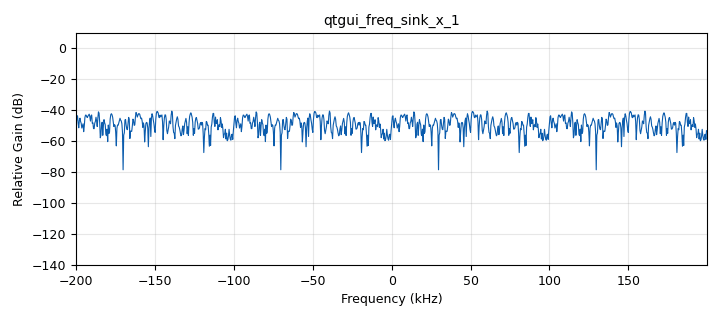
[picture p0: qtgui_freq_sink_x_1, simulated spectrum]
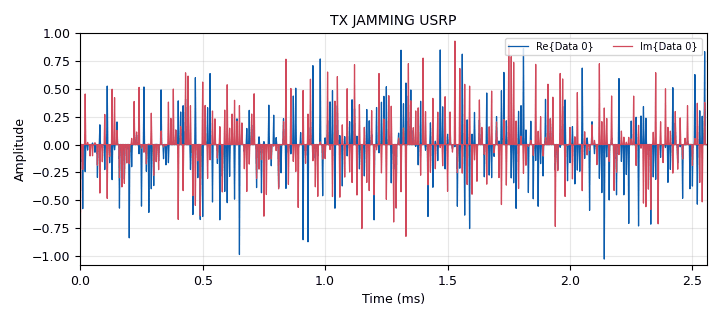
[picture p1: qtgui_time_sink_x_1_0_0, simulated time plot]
<?xml version='1.0' encoding='utf-8'?>
<?grc format='1' created='3.7.13'?>
<flow_graph>
<block>
<key>options</key>
<param><key>id</key><value>rx</value></param>
<param><key>author</key><value>andresilva</value></param>
<param><key>generate_options</key><value>qt_gui</value></param>
</block>
<block>
<key>variable_ldpc_H_matrix_def</key>
<param><key>id</key><value>H_dec</value></param>
<param><key>filename</key><value>/usr/local/share/gnuradio/fec/ldpc/n_1100_k_0442_gap_24.alist</value></param>
<param><key>gap</key><value>24</value></param>
</block>
<block>
<key>variable</key>
<param><key>id</key><value>MCR</value></param>
<param><key>value</key><value>"master_clock_rate=60e6"</value></param>
</block>
<block>
<key>variable</key>
<param><key>id</key><value>MCR</value></param>
<param><key>_enabled</key><value>0</value></param>
<param><key>value</key><value>"master_clock_rate=18e6"</value></param>
</block>
<block>
<key>variable</key>
<param><key>id</key><value>eb</value></param>
<param><key>value</key><value>0.22</value></param>
</block>
<block>
<key>variable</key>
<param><key>id</key><value>frequencia_usrp</value></param>
<param><key>value</key><value>484e6</value></param>
</block>
<block>
<key>variable</key>
<param><key>id</key><value>nfilts</value></param>
<param><key>value</key><value>32</value></param>
</block>
<block>
<key>variable_constellation</key>
<param><key>id</key><value>pld_const</value></param>
<param><key>const_points</key><value>0.92387+0.38268j, 0.38268+0.92387j,  -0.38268+0.92387j, -0.92387+0.38268j, -0.92387-0.38268j, -0.38268-0.92387j, 0.38268-0.92387j, 0.92387-0.38268j</value></param>
<param><key>type</key><value>calcdist</value></param>
<param><key>dims</key><value>1</value></param>
<param><key>_enabled</key><value>0</value></param>
<param><key>rot_sym</key><value>4</value></param>
<param><key>soft_dec_lut</key><value>'auto'</value></param>
<param><key>precision</key><value>8</value></param>
<param><key>sym_map</key><value>[0, 1, 2, 3, 4, 5, 6, 7]</value></param>
</block>
<block>
<key>variable_constellation_rect</key>
<param><key>id</key><value>pld_const</value></param>
<param><key>const_points</key><value>[0.707+0.707j, -0.707+0.707j, -0.707-0.707j, 0.707-0.707j]</value></param>
<param><key>imag_sect</key><value>2</value></param>
<param><key>real_sect</key><value>2</value></param>
<param><key>rot_sym</key><value>4</value></param>
<param><key>soft_dec_lut</key><value>'auto'</value></param>
<param><key>sym_map</key><value>[0, 1, 2, 3]</value></param>
<param><key>w_imag_sect</key><value>1</value></param>
<param><key>w_real_sect</key><value>1</value></param>
</block>
<block>
<key>variable_ldpc_bit_flip_decoder_def</key>
<param><key>id</key><value>pld_dec</value></param>
<param><key>dim1</key><value>8</value></param>
<param><key>matrix_object</key><value>H_dec</value></param>
<param><key>max_iterations</key><value>100</value></param>
<param><key>ndim</key><value>1</value></param>
</block>
<block>
<key>variable_rrc_filter_taps</key>
<param><key>id</key><value>rx_rrc_taps</value></param>
<param><key>alpha</key><value>eb</value></param>
<param><key>gain</key><value>nfilts</value></param>
<param><key>ntaps</key><value>11*sps*nfilts</value></param>
<param><key>samp_rate</key><value>nfilts*sps</value></param>
<param><key>sym_rate</key><value>1.0</value></param>
</block>
<block>
<key>variable</key>
<param><key>id</key><value>samp_rate</value></param>
<param><key>value</key><value>samp_rate_array_MCR[15]</value></param>
</block>
<block>
<key>variable</key>
<param><key>id</key><value>samp_rate</value></param>
<param><key>_enabled</key><value>0</value></param>
<param><key>value</key><value>samp_rate_array_MCR[0]</value></param>
</block>
<block>
<key>variable</key>
<param><key>id</key><value>samp_rate_array_MCR</value></param>
<param><key>value</key><value>[7500000,5000000,3750000,3000000,2500000,2000000,1500000,1000000,937500,882352,833333,714285,533333,500000,421052,400000,380952]</value></param>
</block>
<block>
<key>variable</key>
<param><key>id</key><value>samp_rate_array_MCR</value></param>
<param><key>_enabled</key><value>0</value></param>
<param><key>value</key><value>[4500000]</value></param>
</block>
<block>
<key>variable</key>
<param><key>id</key><value>sps</value></param>
<param><key>value</key><value>4</value></param>
</block>
<block>
<key>variable_qtgui_check_box</key>
<param><key>id</key><value>variable_qtgui_check_box_0</value></param>
<param><key>value</key><value>True</value></param>
<param><key>false</key><value>False</value></param>
<param><key>gui_hint</key><value>0,1</value></param>
<param><key>label</key><value>ENABLE JAM</value></param>
<param><key>true</key><value>True</value></param>
<param><key>type</key><value>int</value></param>
</block>
<block>
<key>variable_qtgui_range</key>
<param><key>id</key><value>variable_qtgui_range_0_0</value></param>
<param><key>value</key><value>52</value></param>
<param><key>gui_hint</key><value>0,3</value></param>
<param><key>label</key><value>Gain_Jamming</value></param>
<param><key>orient</key><value>Qt.Horizontal</value></param>
<param><key>start</key><value>0</value></param>
<param><key>step</key><value>1</value></param>
<param><key>stop</key><value>90</value></param>
</block>
<block>
<key>variable_qtgui_range</key>
<param><key>id</key><value>variable_qtgui_range_0_1</value></param>
<param><key>value</key><value>30</value></param>
<param><key>gui_hint</key><value>0,2</value></param>
<param><key>label</key><value>Gain_RX</value></param>
<param><key>orient</key><value>Qt.Horizontal</value></param>
<param><key>start</key><value>0</value></param>
<param><key>step</key><value>1</value></param>
<param><key>stop</key><value>73</value></param>
</block>
<block>
<key>adapt_lms_filter_xx</key>
<param><key>id</key><value>adapt_lms_filter_xx_0</value></param>
<param><key>adapt</key><value>True</value></param>
<param><key>bypass</key><value>False</value></param>
<param><key>decimation</key><value>1</value></param>
<param><key>filtered_input</key><value>True</value></param>
<param><key>first_input</key><value>True</value></param>
<param><key>num_taps</key><value>32</value></param>
<param><key>reset</key><value>False</value></param>
<param><key>skip</key><value>0</value></param>
<param><key>type</key><value>cc</value></param>
<param><key>mu</key><value>0.0001</value></param>
</block>
<block>
<key>analog_noise_source_x</key>
<param><key>id</key><value>analog_noise_source_x_0_0</value></param>
<param><key>amp</key><value>1</value></param>
<param><key>noise_type</key><value>analog.GR_GAUSSIAN</value></param>
<param><key>type</key><value>complex</value></param>
<param><key>seed</key><value>-5</value></param>
</block>
<block>
<key>blocks_char_to_float</key>
<param><key>id</key><value>blocks_char_to_float_1_0_1</value></param>
<param><key>scale</key><value>1</value></param>
</block>
<block>
<key>blocks_copy</key>
<param><key>id</key><value>blocks_copy_0</value></param>
<param><key>enabled</key><value>variable_qtgui_check_box_0</value></param>
<param><key>showports</key><value>True</value></param>
<param><key>type</key><value>complex</value></param>
</block>
<block>
<key>blocks_file_sink</key>
<param><key>id</key><value>blocks_file_sink_0_0_0_0</value></param>
<param><key>_enabled</key><value>0</value></param>
<param><key>file</key><value>/home/it/Desktop/Trasmited/depois.mpeg</value></param>
<param><key>type</key><value>byte</value></param>
</block>
<block>
<key>blocks_file_sink</key>
<param><key>id</key><value>blocks_file_sink_0_0_0_0_1</value></param>
<param><key>_enabled</key><value>0</value></param>
<param><key>file</key><value>/home/it/Desktop/Trasmited/depois.jpg</value></param>
<param><key>type</key><value>byte</value></param>
</block>
<block>
<key>blocks_file_sink</key>
<param><key>id</key><value>blocks_file_sink_0_0_0_0_2</value></param>
<param><key>file</key><value>/home/it/Desktop/Trasmited/depois.txt</value></param>
<param><key>type</key><value>byte</value></param>
</block>
<block>
<key>blocks_multiply_const_vxx</key>
<param><key>id</key><value>blocks_multiply_const_vxx_1_0</value></param>
<param><key>const</key><value>0.5</value></param>
<param><key>type</key><value>complex</value></param>
</block>
<block>
<key>blocks_null_sink</key>
<param><key>id</key><value>blocks_null_sink_0</value></param>
<param><key>bus_conns</key><value>[[0,],]</value></param>
<param><key>type</key><value>complex</value></param>
</block>
<block>
<key>blocks_null_sink</key>
<param><key>id</key><value>blocks_null_sink_1</value></param>
<param><key>bus_conns</key><value>[[0,],]</value></param>
<param><key>type</key><value>complex</value></param>
</block>
<block>
<key>correlate_and_delay_corr_and_delay</key>
<param><key>id</key><value>custom_corr</value></param>
<param><key>interval</key><value>0</value></param>
<param><key>number_bits</key><value>200*sps</value></param>
<param><key>sps</key><value>sps</value></param>
<param><key>threshold</key><value>0.99</value></param>
</block>
<block>
<key>interp_fir_filter_xxx</key>
<param><key>id</key><value>interp_fir_filter_xxx_1</value></param>
<param><key>interp</key><value>4</value></param>
<param><key>taps</key><value>[1,0,0,0]</value></param>
<param><key>type</key><value>ccc</value></param>
</block>
<block>
<key>parameter</key>
<param><key>id</key><value>puncpat</value></param>
<param><key>type</key><value>string</value></param>
<param><key>value</key><value>'11'</value></param>
</block>
<block>
<key>qtgui_const_sink_x</key>
<param><key>id</key><value>qtgui_const_sink_x_0_0_0_1</value></param>
<param><key>gui_hint</key><value>2,1</value></param>
<param><key>name</key><value>"RX Const"</value></param>
<param><key>size</key><value>1024</value></param>
<param><key>type</key><value>complex</value></param>
</block>
<block>
<key>qtgui_freq_sink_x</key>
<param><key>id</key><value>qtgui_freq_sink_x_1</value></param>
<param><key>bw</key><value>samp_rate</value></param>
<param><key>fc</key><value>0</value></param>
<param><key>fftsize</key><value>1024</value></param>
<param><key>gui_hint</key><value>1,2</value></param>
<param><key>showports</key><value>True</value></param>
<param><key>type</key><value>complex</value></param>
<param><key>wintype</key><value>firdes.WIN_BLACKMAN_hARRIS</value></param>
</block>
<block>
<key>qtgui_time_sink_x</key>
<param><key>id</key><value>qtgui_time_sink_x_0_1</value></param>
<param><key>autoscale</key><value>True</value></param>
<param><key>gui_hint</key><value>2,3</value></param>
<param><key>grid</key><value>True</value></param>
<param><key>color1</key><value>"blue"</value></param>
<param><key>label1</key><value></value></param>
<param><key>name</key><value>Rx Data</value></param>
<param><key>size</key><value>100*2</value></param>
<param><key>srate</key><value>samp_rate</value></param>
<param><key>tr_tag</key><value>packet_length_tag_key</value></param>
<param><key>type</key><value>float</value></param>
<param><key>ymax</key><value>256</value></param>
</block>
<block>
<key>qtgui_time_sink_x</key>
<param><key>id</key><value>qtgui_time_sink_x_1_0</value></param>
<param><key>gui_hint</key><value>1,3</value></param>
<param><key>color1</key><value>"blue"</value></param>
<param><key>label1</key><value></value></param>
<param><key>color2</key><value>"red"</value></param>
<param><key>label2</key><value></value></param>
<param><key>name</key><value>"RX USRP"</value></param>
<param><key>size</key><value>1024</value></param>
<param><key>srate</key><value>samp_rate</value></param>
<param><key>type</key><value>complex</value></param>
</block>
<block>
<key>qtgui_time_sink_x</key>
<param><key>id</key><value>qtgui_time_sink_x_1_0_0</value></param>
<param><key>gui_hint</key><value>1,1</value></param>
<param><key>color1</key><value>"blue"</value></param>
<param><key>label1</key><value></value></param>
<param><key>color2</key><value>"red"</value></param>
<param><key>label2</key><value></value></param>
<param><key>name</key><value>"TX JAMMING USRP"</value></param>
<param><key>size</key><value>1024</value></param>
<param><key>srate</key><value>samp_rate</value></param>
<param><key>type</key><value>complex</value></param>
</block>
<block>
<key>rx</key>
<param><key>id</key><value>rx_0</value></param>
<param><key>samp_rate</key><value>samp_rate</value></param>
<param><key>puncpat</key><value>'11'</value></param>
</block>
<block>
<key>uhd_usrp_sink</key>
<param><key>id</key><value>uhd_usrp_sink_0</value></param>
<param><key>ant0</key><value>TX/RX</value></param>
<param><key>center_freq0</key><value>frequencia_usrp</value></param>
<param><key>norm_gain0</key><value>False</value></param>
<param><key>gain0</key><value>variable_qtgui_range_0_0</value></param>
<param><key>clock_rate</key><value>0.0</value></param>
<param><key>dev_addr</key><value>"serial=F5EAC0"</value></param>
<param><key>dev_args</key><value>""</value></param>
<param><key>type</key><value>fc32</value></param>
<param><key>sd_spec0</key><value>A:B</value></param>
<param><key>samp_rate</key><value>samp_rate</value></param>
<param><key>hide_cmd_port</key><value>False</value></param>
<param><key>hide_lo_controls</key><value>True</value></param>
<param><key>sync</key><value>pc_clock</value></param>
<param><key>len_tag_name</key><value></value></param>
</block>
<block>
<key>uhd_usrp_source</key>
<param><key>id</key><value>uhd_usrp_source_0_0</value></param>
<param><key>ant0</key><value>TX/RX</value></param>
<param><key>center_freq0</key><value>frequencia_usrp</value></param>
<param><key>dc_offs_enb0</key><value>True</value></param>
<param><key>iq_imbal_enb0</key><value>True</value></param>
<param><key>norm_gain0</key><value>False</value></param>
<param><key>gain0</key><value>variable_qtgui_range_0_1</value></param>
<param><key>clock_rate</key><value>0.0</value></param>
<param><key>dev_addr</key><value>"serial=F5EAC0"</value></param>
<param><key>dev_args</key><value>MCR</value></param>
<param><key>type</key><value>fc32</value></param>
<param><key>samp_rate</key><value>samp_rate</value></param>
<param><key>hide_cmd_port</key><value>False</value></param>
<param><key>hide_lo_controls</key><value>True</value></param>
<param><key>sync</key><value>pc_clock</value></param>
</block>
<connection><source_block_id>adapt_lms_filter_xx_0</source_block_id><sink_block_id>rx_0</sink_block_id><source_key>1</source_key><sink_key>0</sink_key></connection>
<connection><source_block_id>adapt_lms_filter_xx_0</source_block_id><sink_block_id>blocks_null_sink_0</sink_block_id><source_key>0</source_key><sink_key>0</sink_key></connection>
<connection><source_block_id>analog_noise_source_x_0_0</source_block_id><sink_block_id>interp_fir_filter_xxx_1</sink_block_id><source_key>0</source_key><sink_key>0</sink_key></connection>
<connection><source_block_id>blocks_char_to_float_1_0_1</source_block_id><sink_block_id>qtgui_time_sink_x_0_1</sink_block_id><source_key>0</source_key><sink_key>0</sink_key></connection>
<connection><source_block_id>blocks_copy_0</source_block_id><sink_block_id>uhd_usrp_sink_0</sink_block_id><source_key>0</source_key><sink_key>0</sink_key></connection>
<connection><source_block_id>blocks_multiply_const_vxx_1_0</source_block_id><sink_block_id>blocks_copy_0</sink_block_id><source_key>0</source_key><sink_key>0</sink_key></connection>
<connection><source_block_id>blocks_multiply_const_vxx_1_0</source_block_id><sink_block_id>custom_corr</sink_block_id><source_key>0</source_key><sink_key>0</sink_key></connection>
<connection><source_block_id>blocks_multiply_const_vxx_1_0</source_block_id><sink_block_id>qtgui_freq_sink_x_1</sink_block_id><source_key>0</source_key><sink_key>0</sink_key></connection>
<connection><source_block_id>blocks_multiply_const_vxx_1_0</source_block_id><sink_block_id>qtgui_time_sink_x_1_0_0</sink_block_id><source_key>0</source_key><sink_key>0</sink_key></connection>
<connection><source_block_id>custom_corr</source_block_id><sink_block_id>blocks_null_sink_1</sink_block_id><source_key>2</source_key><sink_key>0</sink_key></connection>
<connection><source_block_id>custom_corr</source_block_id><sink_block_id>adapt_lms_filter_xx_0</sink_block_id><source_key>0</source_key><sink_key>1</sink_key></connection>
<connection><source_block_id>custom_corr</source_block_id><sink_block_id>adapt_lms_filter_xx_0</sink_block_id><source_key>1</source_key><sink_key>0</sink_key></connection>
<connection><source_block_id>interp_fir_filter_xxx_1</source_block_id><sink_block_id>blocks_multiply_const_vxx_1_0</sink_block_id><source_key>0</source_key><sink_key>0</sink_key></connection>
<connection><source_block_id>rx_0</source_block_id><sink_block_id>blocks_char_to_float_1_0_1</sink_block_id><source_key>0</source_key><sink_key>0</sink_key></connection>
<connection><source_block_id>rx_0</source_block_id><sink_block_id>blocks_file_sink_0_0_0_0</sink_block_id><source_key>0</source_key><sink_key>0</sink_key></connection>
<connection><source_block_id>rx_0</source_block_id><sink_block_id>blocks_file_sink_0_0_0_0_1</sink_block_id><source_key>0</source_key><sink_key>0</sink_key></connection>
<connection><source_block_id>rx_0</source_block_id><sink_block_id>blocks_file_sink_0_0_0_0_2</sink_block_id><source_key>0</source_key><sink_key>0</sink_key></connection>
<connection><source_block_id>uhd_usrp_source_0_0</source_block_id><sink_block_id>custom_corr</sink_block_id><source_key>0</source_key><sink_key>1</sink_key></connection>
<connection><source_block_id>uhd_usrp_source_0_0</source_block_id><sink_block_id>qtgui_const_sink_x_0_0_0_1</sink_block_id><source_key>0</source_key><sink_key>0</sink_key></connection>
<connection><source_block_id>uhd_usrp_source_0_0</source_block_id><sink_block_id>qtgui_time_sink_x_1_0</sink_block_id><source_key>0</source_key><sink_key>0</sink_key></connection>
</flow_graph>
